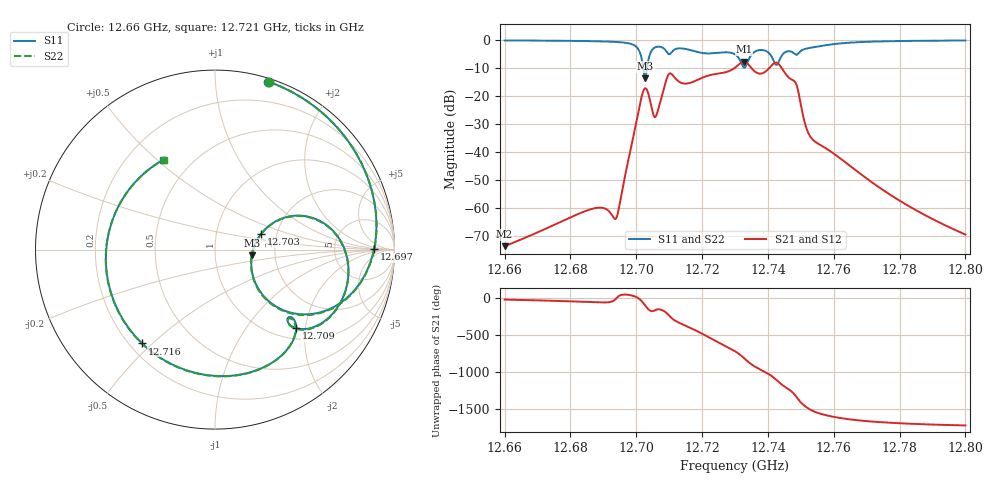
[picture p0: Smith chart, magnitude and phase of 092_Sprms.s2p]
! TOUCHSTONE file generated by CST MICROWAVE STUDIO
! Date and time: Wed Jul 31 15:22:56 2024
! Project name: WaveGuide_BPF-Ver4.1_U-shape_Ku_T3_C4_CWA_2.cst
! Parameters = {cavity_h=16; cavity_l0=10; cavity_l1=15.2007; cavity_l2=16.8295; cavity_l3=17.1207; cavity_l4=17.3097; cavity_l5=17.1108; cavity_l6=17.6123; cavity_r=2.5; cavity_screw_l=0.5; cavity_screw_r=1.5; cavity_w=8; iris_h00=0; iris_h01=8.81; iris_h112=0; iris_h12=5.6026; iris_h211=3.6509; ir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
! Header version: 2018
! Port assignment regex: !\s*Touchstone port\s*([0-9]+)\s*=\s*(CST MWS port|CST DS port)\s*([0-9]+|Zmin|Zmax)\s*\(\"(.*)\"\)(\s*mode\s*([0-9]+))?.*
! Touchstone port assignment:
! Touchstone port 1 = CST MWS port 1 ("")
! Touchstone port 2 = CST MWS port 2 ("")
# GHz S RI R 50
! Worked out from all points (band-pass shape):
!   5001 points, 12.66 GHz to 12.8 GHz, reference 50 ohm
!   highest |S21| = -7.74 dB at 12.733 GHz (marker M1); lowest = -73.5 dB at 12.66 GHz (marker M2)
!   |S21| within 3 dB of the highest: 12.72881 GHz to 12.73557 GHz (6.761 MHz wide, 0.0531 % of centre); 12.73981 GHz to 12.7446 GHz (4.79 MHz wide, 0.0376 % of centre)
!   lowest |S11| = -13.6 dB at 12.703 GHz (marker M3), VSWR 1.53, Z = 75.7 - j5.02 ohm
!   |S11| at or under -10 dB: 12.70214 GHz to 12.70326 GHz (1.121 MHz wide, 0.00883 % of centre)
!   |S22| runs from -13.7 to -0.2 dB; largest |S21 - S12| = 1e-09
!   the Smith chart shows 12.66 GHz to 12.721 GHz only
!   S11 on the Smith chart (normalised r, x): 12.66 GHz: 0.03, +1.36; 12.697 GHz: 17, +0; 12.703 GHz: 1.65, +0.30; 12.709 GHz: 1.23, -1.78; 12.716 GHz: 0.25, -0.47; 12.721 GHz: 0.35, +0.52
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12.66  0.2957 0.9362  0.000197 -7.71e-05  0.000197 -7.71e-05  0.2988 0.9352
12.68335  0.7015 0.6563  0.000526 -0.000652  0.000526 -0.000652  0.7043 0.6532
12.69374  0.8904 0.2478  0.00063 -0.000147  0.00063 -0.000147  0.8917 0.2433
12.69707  0.8858 0.00152  0.00364 0.00372  0.00364 0.00372  0.886 -0.00314
12.70088  0.534 -0.3592  0.0603 -0.0118  0.0603 -0.0118  0.5339 -0.3629
12.7027  0.2057 -0.0317  -0.0248 -0.1355  -0.0248 -0.1355  0.2041 -0.0368
12.70309  0.2549 0.0849  -0.0729 -0.112  -0.0729 -0.112  0.2526 0.0807
12.70668  0.7319 -0.2116  -0.0511 -0.027  -0.0511 -0.027  0.7316 -0.2148
12.70911  0.4525 -0.4379  -0.1838 0.0625  -0.1838 0.0625  0.4541 -0.4422
12.71642  -0.4054 -0.523  0.127 -0.1167  0.127 -0.1167  -0.4094 -0.5214
12.72132  -0.2887 0.5  -0.2027 -0.1016  -0.2027 -0.1016  -0.2859 0.5008
12.72588  0.5879 0.1228  -0.0451 0.2535  -0.0451 0.2535  0.5887 0.1123
12.73  0.1558 -0.5317  0.3211 0.0119  0.3211 0.0119  0.1422 -0.5344
12.73272  -0.0617 -0.316  -0.00093 -0.41  -0.00093 -0.41  -0.0654 -0.3075
12.73904  -0.6495 -0.0293  0.0282 0.266  0.0282 0.266  -0.6517 -0.0347
12.74207  -0.3201 0.2187  0.3882 -0.0439  0.3882 -0.0439  -0.3309 0.2188
12.74467  -0.4487 0.3502  -0.0651 -0.2782  -0.0651 -0.2782  -0.4506 0.3539
12.74999  0.3122 0.5567  0.0609 0.0369  0.0609 0.0369  0.3072 0.558
12.75335  0.7338 0.00347  0.00376 -0.017  0.00376 -0.017  0.7324 0.00514
12.76094  0.027 -0.8566  -0.00852 -0.00127  -0.00852 -0.00127  0.0217 -0.8565
12.77668  -0.8778 -0.3657  -0.000852 0.00161  -0.000852 0.00161  -0.8802 -0.3603
12.8  -0.9536 0.2224  5.74e-05 0.000336  5.74e-05 0.000336  -0.9527 0.2268
